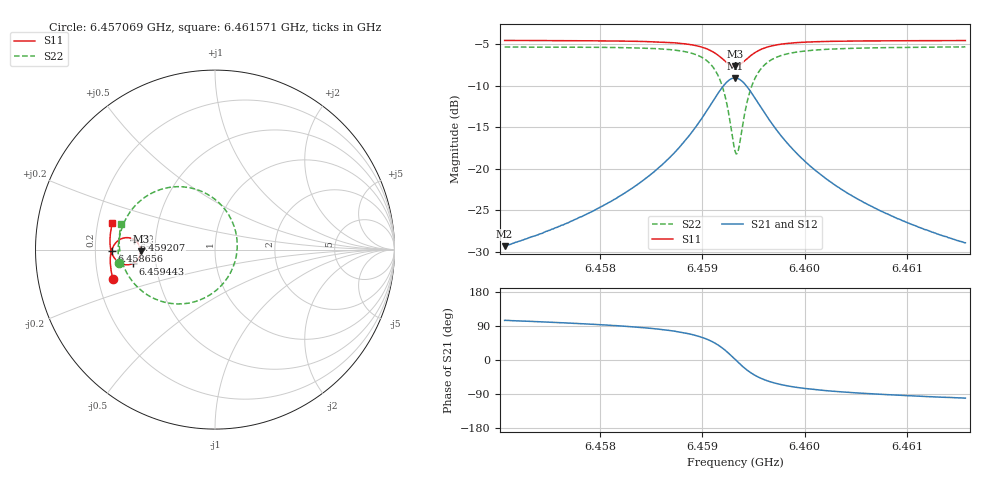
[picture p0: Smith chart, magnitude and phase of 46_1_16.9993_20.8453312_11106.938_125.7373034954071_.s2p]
#  HZ  S  RI  R  50.00
! Rohde & Schwarz Vector Network Analyzer
! Rohde-Schwarz,ZNB20-2Port,1311601062101988,3.16
! Created: UTC 3/20/2024, 10:54:05 PM
! freq[Hz]  re:S11  im:S11  re:S21  im:S21  re:S12  im:S12  re:S22  im:S22
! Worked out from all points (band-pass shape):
!   401 points, 6.457069 GHz to 6.461571 GHz, reference 50 ohm
!   highest |S21| = -9.06 dB at 6.45932 GHz (marker M1); lowest = -29.3 dB at 6.457069 GHz (marker M2)
!   |S21| within 3 dB of the highest: 6.459094 GHz to 6.459544 GHz (450.3 kHz wide, 0.00697 % of centre)
!   lowest |S11| = -7.7 dB at 6.45932 GHz (marker M3), VSWR 2.41, Z = 20.7 - j0.481 ohm
!   |S11| at or under -10 dB: nowhere
!   |S22| runs from -18.2 to -5.3 dB; largest |S21 - S12| = 0.014
!   S11 on the Smith chart (normalised r, x): 6.457069 GHz: 0.26, -0.13; 6.458656 GHz: 0.27, -0.00; 6.459207 GHz: 0.38, +0.05; 6.459443 GHz: 0.37, -0.07; 6.461571 GHz: 0.26, +0.12
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6.4570687e9  -0.568 -0.1665  -0.00854 0.0332  -0.00689 0.0332  -0.5351 -0.0756
6.4578228e9  -0.5811 -0.1001  -0.00516 0.0514  -0.00261 0.0509  -0.5387 0.0139
6.4582505e9  -0.5836 -0.0566  0.00129 0.072  0.00465 0.0707  -0.5291 0.0834
6.4585768e9  -0.5793 -0.017  0.0155 0.1008  0.0194 0.098  -0.5027 0.1592
6.4586556e9  -0.5765 -0.00575  0.0219 0.1108  0.0261 0.1073  -0.4904 0.1828
6.458847e9  -0.5627 0.0249  0.0507 0.1429  0.0548 0.1377  -0.4364 0.2535
6.458982e9  -0.5406 0.0493  0.0949 0.1714  0.098 0.1646  -0.355 0.3132
6.4591171e9  -0.4957 0.0666  0.184 0.1875  0.185 0.1801  -0.1919 0.3504
6.4592071e9  -0.4501 0.0553  0.2756 0.1545  0.2758 0.1488  -0.0226 0.2963
6.4592746e9  -0.4208 0.0222  0.3365 0.0805  0.3387 0.0753  0.0931 0.1623
6.4593197e9  -0.414 -0.00963  0.3524 0.0112  0.3562 0.00403  0.1239 0.0321
6.4593534e9  -0.4183 -0.0339  0.3457 -0.0423  0.3499 -0.0517  0.1106 -0.069
6.4593984e9  -0.4343 -0.0604  0.316 -0.1029  0.3183 -0.1151  0.0501 -0.1832
6.4594435e9  -0.4569 -0.077  0.2728 -0.1441  0.2718 -0.1577  -0.0375 -0.2581
6.4595335e9  -0.5011 -0.084  0.1863 -0.1747  0.1799 -0.1867  -0.2096 -0.3026
6.459601e9  -0.5258 -0.0766  0.1373 -0.1726  0.129 -0.1817  -0.3044 -0.2864
6.4596798e9  -0.5456 -0.0634  0.0972 -0.1601  0.0884 -0.1663  -0.3792 -0.2508
6.4598374e9  -0.5675 -0.0357  0.0517 -0.1314  0.0439 -0.1342  -0.4601 -0.1771
6.4600737e9  -0.5806 -0.000304  0.0223 -0.0991  0.0164 -0.0998  -0.5082 -0.0935
6.4603889e9  -0.5852 0.0379  0.00688 -0.0731  0.00252 -0.0726  -0.5287 -0.0184
6.4608278e9  -0.5836 0.0828  -0.00156 -0.0528  -0.00449 -0.0519  -0.5334 0.0543
6.4615706e9  -0.5718 0.1489  -0.0066 -0.0354  -0.0083 -0.0342  -0.5222 0.1432
